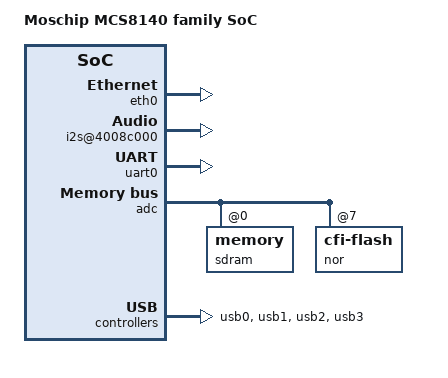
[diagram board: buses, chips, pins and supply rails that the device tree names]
/*
 * mcs8140.dtsi - Device Tree Include file for Moschip MCS8140 family SoC
 *
 * Copyright (C) 2012, Florian Fainelli <florian@openwrt.org>
 *
 * Licensed under GPLv2.
 */

#include "skeleton.dtsi"

/ {
	model = "Moschip MCS8140 family SoC";
	compatible = "moschip,mcs8140";
	interrupt-parent = <&intc>;

	aliases {
		serial0 = &uart0;
		eth0 = &eth0;
	};

	cpus {
		cpu@0 {
			compatible = "arm,arm926ejs";
		};
	};

	ahb {
		compatible = "simple-bus";
		#address-cells = <1>;
		#size-cells = <1>;
		ranges;

		vci {
			compatible = "simple-bus";
			#address-cells = <1>;
			#size-cells = <1>;
			ranges;

			eth0: ethernet@40084000 {
				#address-cells = <1>;
				#size-cells = <0>;

				compatible = "moschip,nuport-mac";
				reg = <0x40084000 0xd8		// mac
					0x40080000 0x58>;	// dma channels
				interrupts = <4 5 29>;	/* tx, rx, link */
				nuport-mac,buffer-shifting;
				nuport-mac,link-activity = <0>;
			};

			tso@40088000 {
				reg = <0x40088000 0x1c>;
				interrupts = <7>;
			};

			i2s@4008c000 {
				compatible = "moschip,mcs814x-i2s";
				reg = <0x4008c000 0x18>;
				interrupts = <8>;
			};

			ipsec@40094000 {
				compatible = "moschip,mcs814x-ipsec";
				reg = <0x40094000 0x1d8>;
				interrupts = <16>;
			};

			rng@4009c000 {
				compatible = "moschip,mcs814x-rng";
				reg = <0x4009c000 0x8>;
			};

			memc@400a8000 {
				reg = <0x400a8000 0x58>;
			};

			list-proc@400ac0c0 {
				reg = <0x400ac0c0 0x38>;
				interrupts = <19 27>;		// done, error
			};

			gpio: gpio@400d0000 {
				compatible = "moschip,mcs814x-gpio";
				reg = <0x400d0000 0x670>;
				interrupts = <10>;
				#gpio-cells = <2>;
				gpio-controller;
				num-gpios = <20>;
			};

			eepio: gpio@400d4000 {
				compatible = "moschip,mcs814x-gpio";
				reg = <0x400d4000 0x470>;
				#gpio-cells = <2>;
				gpio-controller;
				num-gpios = <4>;
			};

			uart0: serial@400dc000 {
				compatible = "ns16550";
				reg = <0x400dc000 0x20>;
				clock-frequency = <50000000>;
				reg-shift = <2>;
				interrupts = <21>;
				status = "okay";
			};

			intc: interrupt-controller@400e4000 {
				#interrupt-cells = <1>;
				compatible = "moschip,mcs814x-intc";
				interrupt-controller;
				interrupt-parent;
				reg = <0x400e4000 0x48>;
			};

			m2m@400e8000 {
				reg = <0x400e8000 0x24>;
				interrupts = <17>;
			};

			eth-filters@400ec000 {
				reg = <0x400ec000 0x80>;
			};

			timer: timer@400f800c {
				compatible = "moschip,mcs814x-timer";
				interrupts = <0>;
				reg = <0x400f800c 0x8>;
			};

			watchdog@400f8014 {
				compatible = "moschip,mcs814x-wdt";
				reg = <0x400f8014 0x8>;
			};

			adc {
				compatible = "simple-bus";
				#address-cells = <2>;
				#size-cells = <1>;
				// 8 64MB chip-selects
				ranges = <0 0 0x00000000 0x4000000	// sdram
					  1 0 0x04000000 0x4000000	// sdram
					  2 0 0x08000000 0x4000000	// reserved
					  3 0 0x0c000000 0x4000000	// flash/localbus
					  4 0 0x10000000 0x4000000	// flash/localbus
					  5 0 0x14000000 0x4000000	// flash/localbus
					  6 0 0x18000000 0x4000000	// flash/localbus
					  7 0 0x1c000000 0x4000000>;	// flash/localbus

				sdram: memory@0,0 {
					reg = <0 0 0>;
				};

				nor: flash@7,0 {
					reg = <7 0 0x4000000>;
					compatible = "cfi-flash";
					bank-width = <1>;		// 8-bit external flash
					#address-cells = <1>;
					#size-cells = <1>;
                                };
                        };

			usb0: ehci@400fc000 {
				compatible = "moschip,mcs814x-ehci", "usb-ehci";
				reg = <0x400fc000 0x74>;
				interrupts = <2>;
			};

			usb1: ohci@400fd000 {
				compatible = "moschip,mcs814x-ohci", "ohci-le";
				reg = <0x400fd000 0x74>;
				interrupts = <11>;
			};

			usb2: ohci@400fe000 {
				compatible = "moschip,mcs814x-ohci", "ohci-le";
				reg = <0x400fe000 0x74>;
				interrupts = <12>;
			};

			usb3: otg@400ff000 {
				compatible = "moschip,msc814x-otg", "usb-otg";
				reg = <0x400ff000 0x1000>;
				interrupts = <13>;
			};
		};

	};
};
